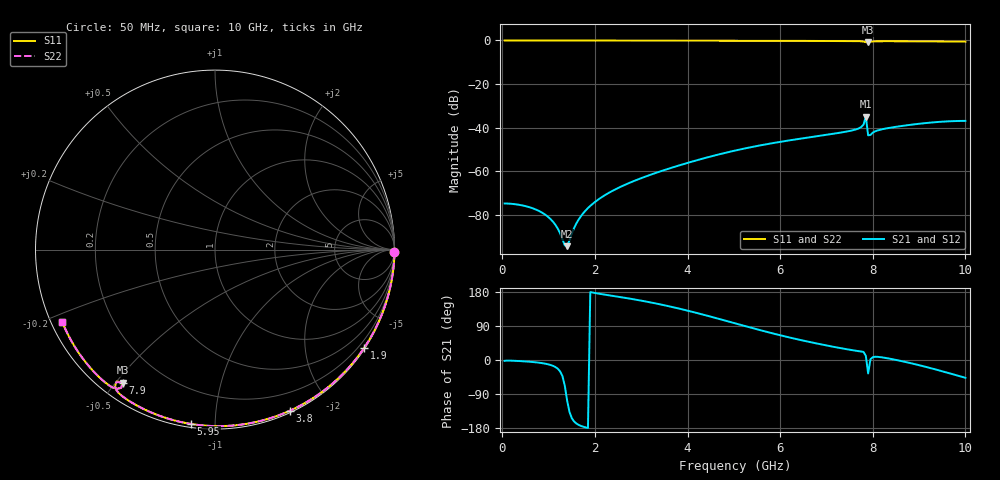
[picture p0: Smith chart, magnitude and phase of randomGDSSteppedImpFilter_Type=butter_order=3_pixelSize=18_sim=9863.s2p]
! freq	dB(S11)	phase(S11)	dB(S12)	phase(S12)
!  dB(S21)	phase(S21)	dB(S22)	phase(S22)
!S-par simulation data
#  GHz  S  DB  R 50
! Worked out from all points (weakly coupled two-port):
!   200 points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, 50 MHz to 10 GHz, reference 50 ohm
!   highest |S21| = -35.01 dB at 7.85 GHz (marker M1); lowest = -94.5 dB at 1.4 GHz (marker M2)
!   lowest |S11| = -0.9 dB at 7.9 GHz (marker M3), VSWR 19.34, Z = 3.3 - j26.1 ohm
!   |S11| at or under -10 dB: nowhere
!   |S22| runs from -0.9 to 0.0 dB; largest |S21 - S12| = 0
!   S11 on the Smith chart (normalised r, x): 50 MHz: open; 1.9 GHz: 0.03, -3.33; 3.8 GHz: 0.02, -1.57; 5.95 GHz: 0.02, -0.87; 7.9 GHz: 0.07, -0.52; 10 GHz: 0.03, -0.22
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0.05  -0.00 -0.9  -74.85 -2.2  -74.85 -2.2  -0.00 -0.9
0.55  -0.01 -9.8  -76.34 -4.2  -76.34 -4.2  -0.01 -9.8
0.95  -0.02 -16.9  -80.35 -10.3  -80.35 -10.3  -0.02 -16.9
1.4  -0.03 -24.8  -94.46 -107.0  -94.46 -107.0  -0.03 -24.8
1.7  -0.04 -30.0  -80.64 -174.1  -80.64 -174.1  -0.04 -30.0
1.75  -0.04 -30.9  -79.27 -176.2  -79.27 -176.2  -0.04 -30.8
1.9  -0.04 -33.4  -75.96 179.2  -75.96 179.2  -0.04 -33.4
2.15  -0.05 -37.7  -71.91 173.7  -71.91 173.7  -0.05 -37.7
2.5  -0.06 -43.7  -67.75 167.0  -67.75 167.0  -0.06 -43.6
3.4  -0.08 -58.6  -60.21 147.1  -60.21 147.1  -0.08 -58.5
3.8  -0.09 -65.0  -57.49 136.2  -57.49 136.2  -0.09 -65.0
5.05  -0.13 -84.5  -50.44 96.0  -50.44 96.0  -0.13 -84.4
5.95  -0.17 -97.9  -46.74 66.8  -46.74 66.8  -0.17 -97.8
6.7  -0.21 -108.8  -44.26 45.9  -44.26 45.9  -0.21 -108.7
7.7  -0.34 -124.0  -40.37 23.3  -40.37 23.3  -0.33 -123.8
7.8  -0.50 -126.2  -38.63 21.4  -38.63 21.4  -0.47 -125.9
7.85  -0.77 -126.7  -35.01 11.0  -35.01 11.0  -0.71 -126.7
7.9  -0.90 -124.6  -43.55 -35.5  -43.55 -35.5  -0.91 -125.0
8  -0.46 -125.2  -42.33 7.5  -42.33 7.5  -0.46 -125.1
8.35  -0.35 -131.2  -40.17 3.8  -40.17 3.8  -0.35 -131.1
9.25  -0.43 -144.1  -37.71 -21.4  -37.71 -21.4  -0.43 -144.0
10  -0.52 -154.7  -36.93 -47.0  -36.93 -47.0  -0.52 -154.6
